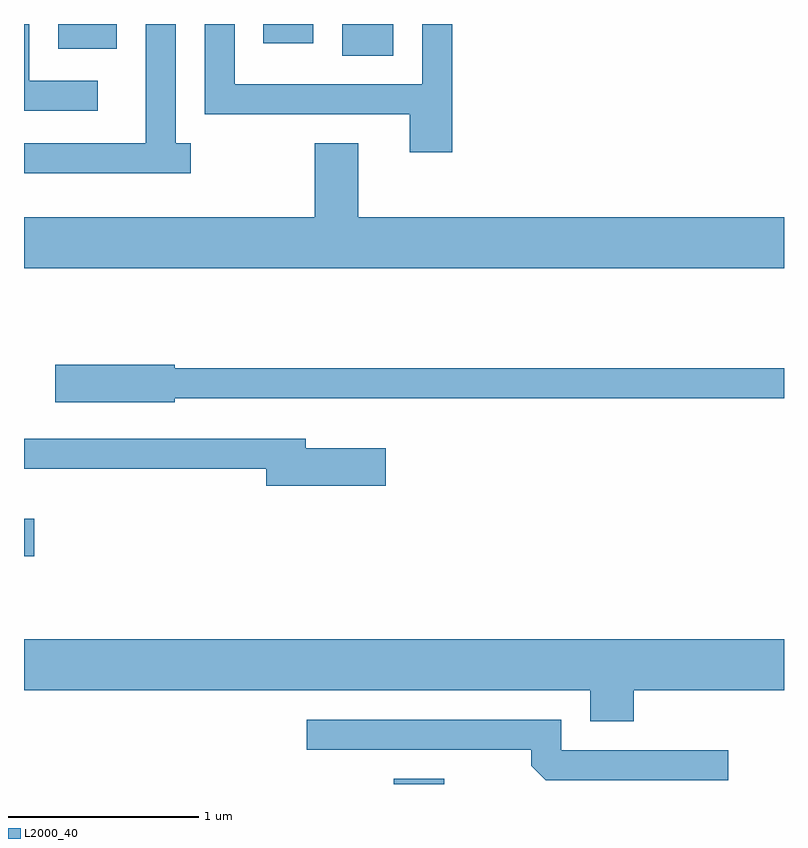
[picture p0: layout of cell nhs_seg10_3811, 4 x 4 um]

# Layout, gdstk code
import gdstk
lib = gdstk.Library(unit=1e-6, precision=1e-09)
def R(c, l, rs):  # rectangles x0, y0, x1, y1
    for r in rs: c.add(gdstk.rectangle(r[:2], r[2:], *l))
def P(c, l, *ps):  # polygons
    for p in ps: c.add(gdstk.Polygon(p, *l))
L2000_40 = (2000, 40)

nhs_seg10_3811 = lib.new_cell('nhs_seg10_3811')
R(nhs_seg10_3811, L2000_40, [(299.556,2124.522,299.824,2124.549), (297.611,2125.721,297.664,2125.919), (299.286,2128.356,299.554,2128.522), (297.791,2128.391,298.099,2128.522), (298.871,2128.421,299.134,2128.522)])
P(nhs_seg10_3811, L2000_40, [(297.998,2128.224),(297.639,2128.224),(297.639,2128.522),(297.611,2128.522),(297.611,2128.066),(297.998,2128.066)],
  [(299.864,2128.522),(299.706,2128.522),(299.706,2128.204),(298.719,2128.204),(298.719,2128.522),(298.561,2128.522),(298.561,2128.046),(299.641,2128.046),(299.641,2127.846),(299.864,2127.846)],
  [(298.488,2127.894),(298.409,2127.894),(298.409,2128.522),(298.251,2128.522),(298.251,2127.894),(297.611,2127.894),(297.611,2127.736),(298.488,2127.736)],
  [(301.611,2127.504),(299.369,2127.504),(299.369,2127.894),(299.141,2127.894),(299.141,2127.504),(297.611,2127.504),(297.611,2127.236),(301.611,2127.236)],
  [(298.404,2126.551),(301.611,2126.551),(301.611,2126.709),(298.404,2126.709),(298.404,2126.729),(297.776,2126.729),(297.776,2126.531),(298.404,2126.531)],
  [(299.514,2126.289),(299.094,2126.289),(299.094,2126.339),(297.611,2126.339),(297.611,2126.181),(298.886,2126.181),(298.886,2126.091),(299.514,2126.091)],
  [(300.819,2125.016),(301.611,2125.016),(301.611,2125.284),(297.611,2125.284),(297.611,2125.016),(300.591,2125.016),(300.591,2124.851),(300.819,2124.851)],
  [(301.318,2124.699),(300.439,2124.699),(300.439,2124.859),(299.098,2124.859),(299.098,2124.701),(300.281,2124.701),(300.281,2124.617),(300.357,2124.541),(301.318,2124.541)])

lib.write_gds('nhs_seg10_3811.gds')
